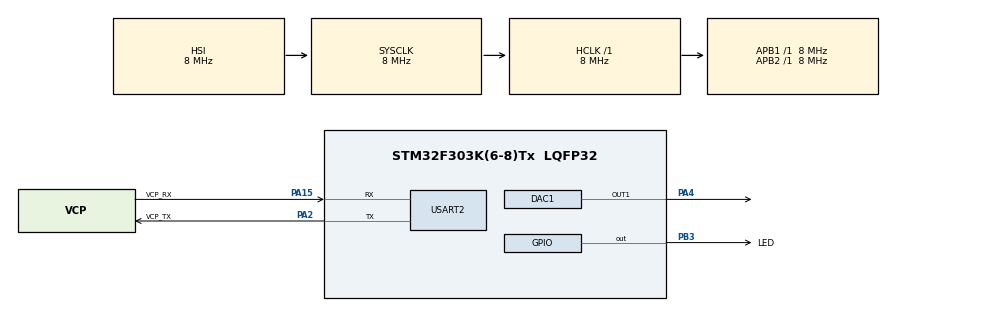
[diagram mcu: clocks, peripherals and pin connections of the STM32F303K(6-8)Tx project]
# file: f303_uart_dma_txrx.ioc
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Dma.Request0=USART2_TX
Dma.Request1=USART2_RX
Dma.Request2=TIM17_CH1/UP
Dma.TIM17_CH1/UP.2.Direction=DMA_MEMORY_TO_PERIPH
Dma.TIM17_CH1/UP.2.Instance=DMA1_Channel1
Dma.TIM17_CH1/UP.2.MemDataAlignment=DMA_MDATAALIGN_HALFWORD
Dma.TIM17_CH1/UP.2.MemInc=DMA_MINC_ENABLE
Dma.TIM17_CH1/UP.2.Mode=DMA_NORMAL
Dma.TIM17_CH1/UP.2.PeriphDataAlignment=DMA_PDATAALIGN_HALFWORD
Dma.TIM17_CH1/UP.2.PeriphInc=DMA_PINC_DISABLE
Dma.TIM17_CH1/UP.2.Priority=DMA_PRIORITY_HIGH
Dma.USART2_RX.1.Direction=DMA_PERIPH_TO_MEMORY
Dma.USART2_RX.1.Instance=DMA1_Channel6
Dma.USART2_RX.1.MemDataAlignment=DMA_MDATAALIGN_BYTE
Dma.USART2_RX.1.MemInc=DMA_MINC_ENABLE
Dma.USART2_RX.1.Mode=DMA_CIRCULAR
Dma.USART2_RX.1.PeriphDataAlignment=DMA_PDATAALIGN_BYTE
Dma.USART2_RX.1.PeriphInc=DMA_PINC_DISABLE
Dma.USART2_RX.1.Priority=DMA_PRIORITY_LOW
Dma.USART2_TX.0.Direction=DMA_MEMORY_TO_PERIPH
Dma.USART2_TX.0.Instance=DMA1_Channel7
Dma.USART2_TX.0.MemDataAlignment=DMA_MDATAALIGN_BYTE
Dma.USART2_TX.0.MemInc=DMA_MINC_ENABLE
Dma.USART2_TX.0.Mode=DMA_NORMAL
Dma.USART2_TX.0.PeriphDataAlignment=DMA_PDATAALIGN_BYTE
Dma.USART2_TX.0.PeriphInc=DMA_PINC_DISABLE
Dma.USART2_TX.0.Priority=DMA_PRIORITY_LOW
Mcu.Family=STM32F3
Mcu.Name=STM32F303K(6-8)Tx
Mcu.Package=LQFP32
NVIC.DMA1_Channel1_IRQn=true\:0\:0\:false\:false\:true
NVIC.DMA1_Channel6_IRQn=true\:0\:0\:false\:false\:true
NVIC.DMA1_Channel7_IRQn=true\:0\:0\:false\:false\:true
NVIC.PriorityGroup=NVIC_PRIORITYGROUP_4
NVIC.USART2_IRQn=true\:0\:0\:false\:false\:true
PA13.Mode=Serial_Wire
PA13.Signal=SYS_JTMS-SWDIO
PA14.Mode=Serial_Wire
PA14.Signal=SYS_JTCK-SWCLK
PA15.GPIO_Label=VCP_RX
PA15.Mode=Asynchronous
PA15.Signal=USART2_RX
PA2.GPIO_Label=VCP_TX
PA2.Mode=Asynchronous
PA2.Signal=USART2_TX
PA4.Signal=COMP_DAC11_group
PB3.GPIO_Label=LED
PB3.Signal=GPIO_Output
ProjectManager.HeapSize=0x200
ProjectManager.StackSize=0x400
ProjectManager.TargetToolchain=SW4STM32
RCC.AHBFreq_Value=8000000
RCC.APB1Freq_Value=8000000
RCC.APB2Freq_Value=8000000
RCC.CortexFreq_Value=8000000
RCC.HSE_VALUE=8000000
RCC.HSI_VALUE=8000000
RCC.SYSCLKFreq_VALUE=8000000
SH.COMP_DAC11_group.0=DAC1_OUT1,DAC_OUT1
TIM17.Period=500-1
USART2.DMADisableonRxErrorParam=UART_ADVFEATURE_DMA_DISABLEONRXERROR
USART2.OverrunDisableParam=UART_ADVFEATURE_OVERRUN_DISABLE
USART2.WordLength=UART_WORDLENGTH_8B
VP_TIM17_VS_ClockSourceINT.Mode=Enable_Timer
board=f303_uart_dma_txrx

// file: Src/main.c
/**
  ******************************************************************************
  * File Name          : main.c
  * Description        : Main program body
  ******************************************************************************
  *
  * COPYRIGHT(c) 2017 STMicroelectronics
  *
  * Redistribution and use in source and binary forms, with or without modification,
  * are permitted provided that the following conditions are met:
  *   1. Redistributions of source code must retain the above copyright notice,
  *      this list of conditions and the following disclaimer.
  *   2. Redistributions in binary form must reproduce the above copyright notice,
  *      this list of conditions and the following disclaimer in the documentation
  *      and/or other materials provided with the distribution.
  *   3. Neither the name of STMicroelectronics nor the names of its contributors
  *      may be used to endorse or promote products derived from this software
  *      without specific prior written permission.
  *
  * THIS SOFTWARE IS PROVIDED BY THE COPYRIGHT HOLDERS AND CONTRIBUTORS "AS IS"
  * AND ANY EXPRESS OR IMPLIED WARRANTIES, INCLUDING, BUT NOT LIMITED TO, THE
  * IMPLIED WARRANTIES OF MERCHANTABILITY AND FITNESS FOR A PARTICULAR PURPOSE ARE
  * DISCLAIMED. IN NO EVENT SHALL THE COPYRIGHT HOLDER OR CONTRIBUTORS BE LIABLE
  * FOR ANY DIRECT, INDIRECT, INCIDENTAL, SPECIAL, EXEMPLARY, OR CONSEQUENTIAL
  * DAMAGES (INCLUDING, BUT NOT LIMITED TO, PROCUREMENT OF SUBSTITUTE GOODS OR
  * SERVICES; LOSS OF USE, DATA, OR PROFITS; OR BUSINESS INTERRUPTION) HOWEVER
  * CAUSED AND ON ANY THEORY OF LIABILITY, WHETHER IN CONTRACT, STRICT LIABILITY,
  * OR TORT (INCLUDING NEGLIGENCE OR OTHERWISE) ARISING IN ANY WAY OUT OF THE USE
  * OF THIS SOFTWARE, EVEN IF ADVISED OF THE POSSIBILITY OF SUCH DAMAGE.
  *
  ******************************************************************************
  */
#include "main.h"
#include "stm32f3xx_hal.h"
#include "dac.h"
#include "dma.h"
#include "tim.h"
#include "usart.h"
#include "gpio.h"

/* USER CODE BEGIN Includes */
#include "uart_serial.h"
/* USER CODE END Includes */

/* USER CODE BEGIN PV */
/* Private variables ---------------------------------------------------------*/
const char INITMSG[] = "\nST-Link UART V-Com output\n";

__IO int32_t sine_count;
const uint16_t sine_440[] = {
  0x003, 0x022, 0x07E, 0x115, 0x1E1, 0x2DD, 0x401, 0x545,
  0x69D, 0x800, 0x964, 0xABC, 0xC00, 0xD24, 0xE20, 0xEEC,
  0xF83, 0xFDF, 0xFFF, 0xFDF, 0xF83, 0xEEC, 0xE20, 0xD24,
  0xBFF, 0xABC, 0x964, 0x801, 0x69D, 0x545, 0x402, 0x2DD,
  0x1E1, 0x115, 0x07E, 0x022
  };

/* USER CODE END PV */

void SystemClock_Config(void);
void Error_Handler(void);

/* USER CODE BEGIN PFP */
/* Private function prototypes -----------------------------------------------*/

/* USER CODE END PFP */

/* USER CODE BEGIN 0 */
void DmaXferCpltCallback(DMA_HandleTypeDef *hdma);

void Start_TIM_DMA()
{
  htim17.hdma[TIM_DMA_ID_UPDATE]->XferCpltCallback = DmaXferCpltCallback;

  /* Enable the DMA channel */
  HAL_DMA_Start_IT(htim17.hdma[TIM_DMA_ID_UPDATE],
                   (uint32_t)sine_440, (uint32_t)&(hdac1.Instance->DHR12R1), 36);

  /* Enable the TIM Update DMA request */
  __HAL_TIM_ENABLE_DMA(&htim17, TIM_DMA_UPDATE);

  /* Enable the Peripheral */
  __HAL_TIM_ENABLE(&htim17);
}

void DmaXferCpltCallback(DMA_HandleTypeDef *hdma)
{
  if (sine_count == 0) {
    __HAL_TIM_DISABLE(&htim17);
    __HAL_TIM_DISABLE_DMA(&htim17, TIM_DMA_UPDATE);
    HAL_DAC_Stop(&hdac1, DAC_CHANNEL_1);
  } else {
    Start_TIM_DMA();
    --sine_count;
  }
}
/* USER CODE END 0 */

int main(void)
{

  /* MCU Configuration----------------------------------------------------------*/

  /* Reset of all peripherals, Initializes the Flash interface and the Systick. */
  HAL_Init();

  /* Configure the system clock */
  SystemClock_Config();

  /* Initialize all configured peripherals */
  MX_GPIO_Init();
  MX_DMA_Init();
  MX_USART2_UART_Init();
  MX_DAC1_Init();
  MX_TIM17_Init();

  /* USER CODE BEGIN 2 */
  msg_init(&huart2);

  printf(INITMSG);

  HAL_DAC_Start(&hdac1, DAC_CHANNEL_1);
//  HAL_DAC_SetValue(&hdac1, DAC_CHANNEL_1, DAC_ALIGN_12B_R, 0x800);
//  hdac1.Instance->DHR12R1 = 0x800;
  sine_count = 440 * 3;
  Start_TIM_DMA();

  /* USER CODE END 2 */

  /* Infinite loop */
  /* USER CODE BEGIN WHILE */
  while (1)
  {
    if ( !msgrx_circ_buf_is_empty() ) {
      uint8_t c = msgrx_circ_buf_get();

      printf("%c", c);

      if (c == '\r') {
        printf("\n");
      }
      if (c != '\r') {
        while (huart2.gState != HAL_UART_STATE_READY) ;
        HAL_UART_Transmit_IT(&huart2, &c, 1);
      }

    }
  /* USER CODE END WHILE */

  }

}

/** System Clock Configuration
*/
void SystemClock_Config(void)
{

  RCC_OscInitTypeDef RCC_OscInitStruct;
  RCC_ClkInitTypeDef RCC_ClkInitStruct;

    /**Initializes the CPU, AHB and APB busses clocks
    */
  RCC_OscInitStruct.OscillatorType = RCC_OSCILLATORTYPE_HSI;
  RCC_OscInitStruct.HSIState = RCC_HSI_ON;
  RCC_OscInitStruct.HSICalibrationValue = 16;
  RCC_OscInitStruct.PLL.PLLState = RCC_PLL_NONE;
  if (HAL_RCC_OscConfig(&RCC_OscInitStruct) != HAL_OK)
  {
    Error_Handler();
  }

    /**Initializes the CPU, AHB and APB busses clocks
    */
  RCC_ClkInitStruct.ClockType = RCC_CLOCKTYPE_HCLK|RCC_CLOCKTYPE_SYSCLK
                              |RCC_CLOCKTYPE_PCLK1|RCC_CLOCKTYPE_PCLK2;
  RCC_ClkInitStruct.SYSCLKSource = RCC_SYSCLKSOURCE_HSI;
  RCC_ClkInitStruct.AHBCLKDivider = RCC_SYSCLK_DIV1;
  RCC_ClkInitStruct.APB1CLKDivider = RCC_HCLK_DIV1;
  RCC_ClkInitStruct.APB2CLKDivider = RCC_HCLK_DIV1;

  if (HAL_RCC_ClockConfig(&RCC_ClkInitStruct, FLASH_LATENCY_0) != HAL_OK)
  {
    Error_Handler();
  }

    /**Configure the Systick interrupt time
    */
  HAL_SYSTICK_Config(HAL_RCC_GetHCLKFreq()/1000);

    /**Configure the Systick
    */
  HAL_SYSTICK_CLKSourceConfig(SYSTICK_CLKSOURCE_HCLK);

  /* SysTick_IRQn interrupt configuration */
  HAL_NVIC_SetPriority(SysTick_IRQn, 0, 0);
}

void Error_Handler(void)
{
  while(1)
  {
  }
}

/************************ (C) COPYRIGHT STMicroelectronics *****END OF FILE****/
